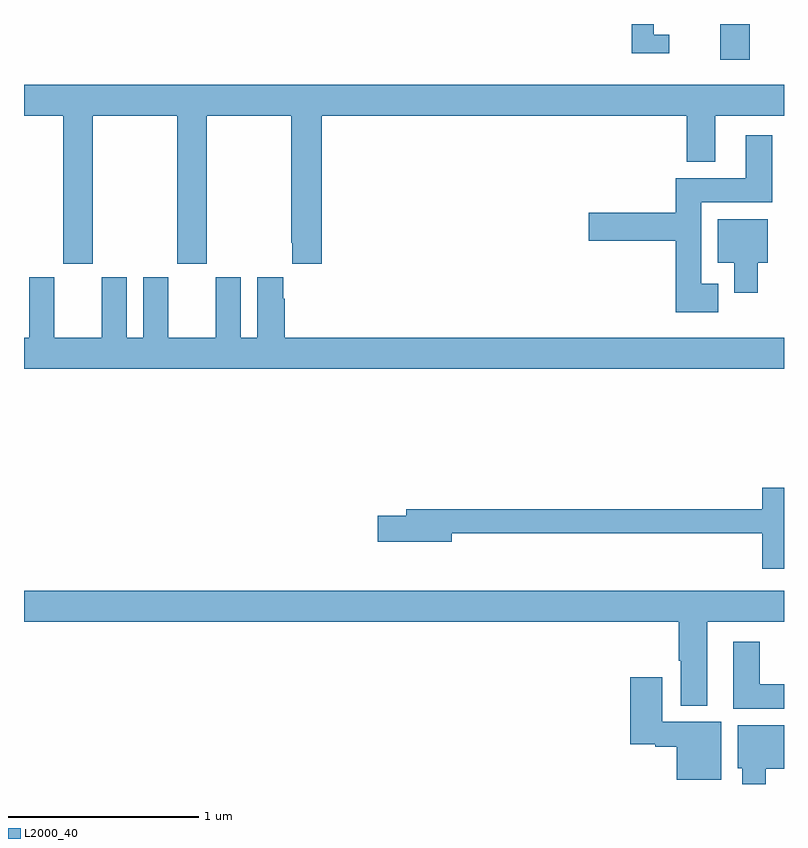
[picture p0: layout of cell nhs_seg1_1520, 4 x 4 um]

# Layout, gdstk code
import gdstk
lib = gdstk.Library(unit=1e-6, precision=1e-09)
def R(c, l, rs):  # rectangles x0, y0, x1, y1
    for r in rs: c.add(gdstk.rectangle(r[:2], r[2:], *l))
def P(c, l, *ps):  # polygons
    for p in ps: c.add(gdstk.Polygon(p, *l))
L2000_40 = (2000, 40)

nhs_seg1_1520 = lib.new_cell('nhs_seg1_1520')
R(nhs_seg1_1520, L2000_40, [(196.664,568.011,196.819,568.199)])
P(nhs_seg1_1520, L2000_40, [(196.396,568.143),(196.314,568.143),(196.314,568.199),(196.198,568.199),(196.198,568.046),(196.396,568.046)],
  [(193.362,567.716),(193.807,567.716),(193.807,566.937),(193.962,566.937),(193.962,567.716),(194.407,567.716),(194.407,567.049),(194.411,567.049),(194.411,566.937),(194.567,566.937),(194.567,567.716),(196.487,567.716),(196.487,567.473),(196.639,567.473),(196.639,567.716),(197,567.716),(197,567.88),(193,567.88),(193,567.716),(193.207,567.716),(193.207,566.937),(193.362,566.937)],
  [(196.654,566.833),(196.564,566.833),(196.564,567.26),(196.939,567.26),(196.939,567.613),(196.799,567.613),(196.799,567.388),(196.43,567.388),(196.43,567.206),(195.972,567.206),(195.972,567.059),(196.43,567.059),(196.43,566.681),(196.654,566.681)],
  [(196.861,566.942),(196.915,566.942),(196.915,567.172),(196.652,567.172),(196.652,566.942),(196.739,566.942),(196.739,566.784),(196.861,566.784)],
  [(197,566.548),(194.372,566.548),(194.372,566.753),(194.365,566.753),(194.365,566.866),(194.228,566.866),(194.228,566.548),(194.14,566.548),(194.14,566.866),(194.009,566.866),(194.009,566.548),(193.759,566.548),(193.759,566.866),(193.628,566.866),(193.628,566.548),(193.54,566.548),(193.54,566.866),(193.409,566.866),(193.409,566.548),(193.159,566.548),(193.159,566.866),(193.028,566.866),(193.028,566.548),(193,566.548),(193,566.384),(197,566.384)],
  [(197,565.759),(196.886,565.759),(196.886,565.646),(195.011,565.646),(195.011,565.61),(194.862,565.61),(194.862,565.475),(195.25,565.475),(195.25,565.518),(196.886,565.518),(196.886,565.331),(197,565.331)],
  [(193,565.052),(196.445,565.052),(196.445,564.847),(196.457,564.847),(196.457,564.611),(196.597,564.611),(196.597,565.052),(197,565.052),(197,565.216),(193,565.216)],
  [(197,564.724),(196.873,564.724),(196.873,564.949),(196.733,564.949),(196.733,564.596),(197,564.596)],
  [(196.669,564.526),(196.36,564.526),(196.36,564.76),(196.19,564.76),(196.19,564.407),(196.323,564.407),(196.323,564.395),(196.436,564.395),(196.436,564.221),(196.669,564.221)],
  [(196.903,564.278),(197,564.278),(197,564.508),(196.757,564.508),(196.757,564.282),(196.781,564.282),(196.781,564.199),(196.903,564.199)])

lib.write_gds('nhs_seg1_1520.gds')
